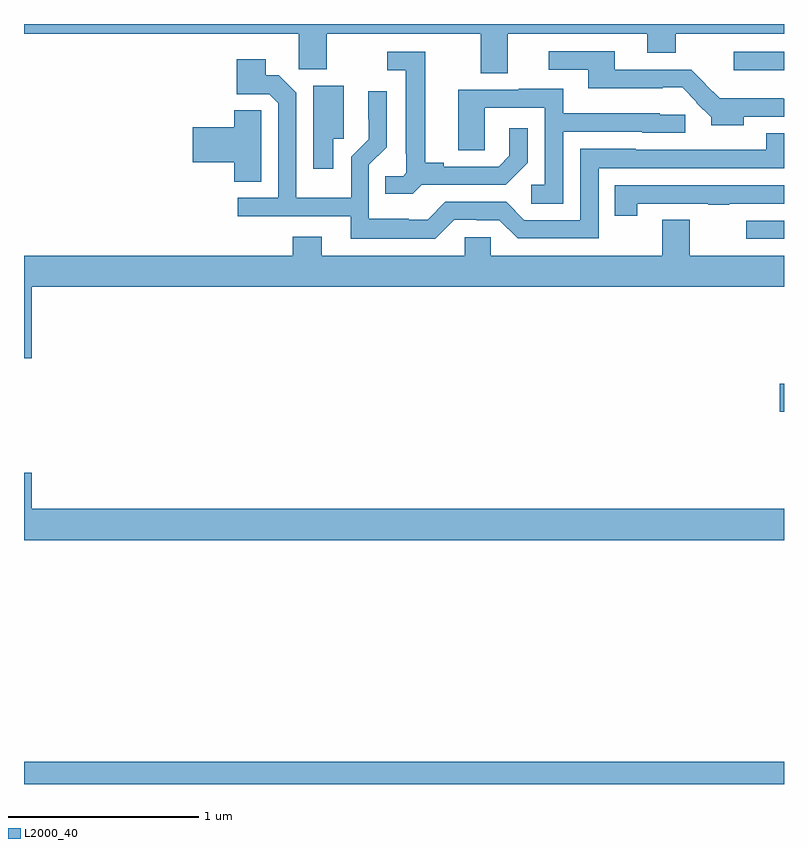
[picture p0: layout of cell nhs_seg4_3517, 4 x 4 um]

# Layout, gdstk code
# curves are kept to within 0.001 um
import gdstk
lib = gdstk.Library(unit=1e-6, precision=1e-09)
def R(c, l, rs):  # rectangles x0, y0, x1, y1
    for r in rs: c.add(gdstk.rectangle(r[:2], r[2:], *l))
def P(c, l, *ps):  # polygons
    for p in ps: c.add(gdstk.Polygon(p, *l))
L2000_40 = (2000, 40)

nhs_seg4_3517 = lib.new_cell('nhs_seg4_3517')
R(nhs_seg4_3517, L2000_40, [(297,764.9,301,765.016), (300.978,766.859,301,767.006), (300.801,767.769,301,767.865), (300.735,768.656,301,768.753)])
P(nhs_seg4_3517, L2000_40, [(299.545,768.848),(300.281,768.848),(300.281,768.749),(300.429,768.749),(300.429,768.848),(301,768.848),(301,768.9),(297,768.9),(297,768.848),(298.446,768.848),(298.446,768.661),(298.593,768.661),(298.593,768.848),(299.405,768.848),(299.405,768.64),(299.545,768.64)],
  [(300.787,768.411),(301,768.411),(301,768.506),(300.995,768.506),(300.995,768.508),(300.661,768.508),(300.587,768.581),(300.589,768.583),(300.513,768.66),(300.109,768.66),(300.109,768.756),(299.763,768.756),(299.763,768.66),(299.969,768.66),(299.969,768.563),(300.362,768.563),(300.362,768.566),(300.464,768.566),(300.54,768.489),(300.537,768.486),(300.616,768.408),(300.616,768.368),(300.787,768.368)],
  [(299.094,768.054),(299.536,768.054),(299.652,768.17),(299.652,768.352),(299.555,768.352),(299.555,768.207),(299.498,768.15),(299.209,768.15),(299.209,768.17),(299.113,768.17),(299.113,768.753),(298.911,768.753),(298.911,768.657),(299.009,768.657),(299.009,768.217),(299.013,768.217),(299.013,768.117),(298.995,768.099),(298.9,768.099),(298.9,768.007),(299.046,768.007)],
  [(299.265,767.871),(299.382,767.871),(299.382,767.868),(299.502,767.868),(299.598,767.772),(300.024,767.772),(300.024,768.141),(301,768.141),(301,768.326),(300.906,768.326),(300.906,768.238),(300.219,768.237),(300.219,768.244),(299.928,768.244),(299.928,767.868),(299.634,767.868),(299.538,767.964),(299.217,767.964),(299.124,767.871),(299.024,767.871),(299.024,767.875),(298.815,767.875),(298.815,768.159),(298.908,768.252),(298.908,768.547),(298.812,768.547),(298.812,768.4),(298.814,768.4),(298.814,768.294),(298.722,768.202),(298.722,767.986),(298.434,767.986),(298.434,768.537),(298.341,768.63),(298.273,768.63),(298.273,768.715),(298.121,768.715),(298.121,768.531),(298.29,768.531),(298.338,768.483),(298.338,767.985),(298.125,767.985),(298.125,767.889),(298.721,767.889),(298.721,767.771),(299.165,767.771)],
  [(298.627,768.297),(298.684,768.297),(298.684,768.576),(298.523,768.576),(298.523,768.138),(298.627,768.138)],
  [(299.838,768.333),(300.255,768.333),(300.255,768.327),(300.48,768.327),(300.48,768.423),(300.345,768.423),(300.345,768.43),(299.839,768.43),(299.839,768.559),(299.603,768.559),(299.603,768.555),(299.285,768.555),(299.285,768.235),(299.424,768.235),(299.424,768.459),(299.742,768.459),(299.742,768.054),(299.67,768.054),(299.67,767.953),(299.838,767.953)],
  [(298.249,768.338),(298.248,768.338),(298.248,768.446),(298.106,768.446),(298.106,768.356),(297.888,768.356),(297.888,768.173),(298.106,768.173),(298.106,768.07),(298.249,768.07)],
  [(300.228,767.955),(300.601,767.955),(300.601,767.95),(300.713,767.95),(300.713,767.955),(301,767.955),(301,768.051),(300.109,768.051),(300.109,767.892),(300.228,767.892)],
  [(297.04,767.516),(301,767.516),(301,767.68),(300.505,767.68),(300.505,767.87),(300.358,767.87),(300.358,767.68),(299.457,767.68),(299.457,767.778),(299.319,767.778),(299.319,767.68),(298.567,767.68),(298.567,767.779),(298.415,767.779),(298.415,767.68),(297,767.68),(297,767.142),(297.04,767.142)],
  [(301,766.348),(297.04,766.348),(297.04,766.537),(297,766.537),(297,766.184),(301,766.184)])

lib.write_gds('nhs_seg4_3517.gds')
